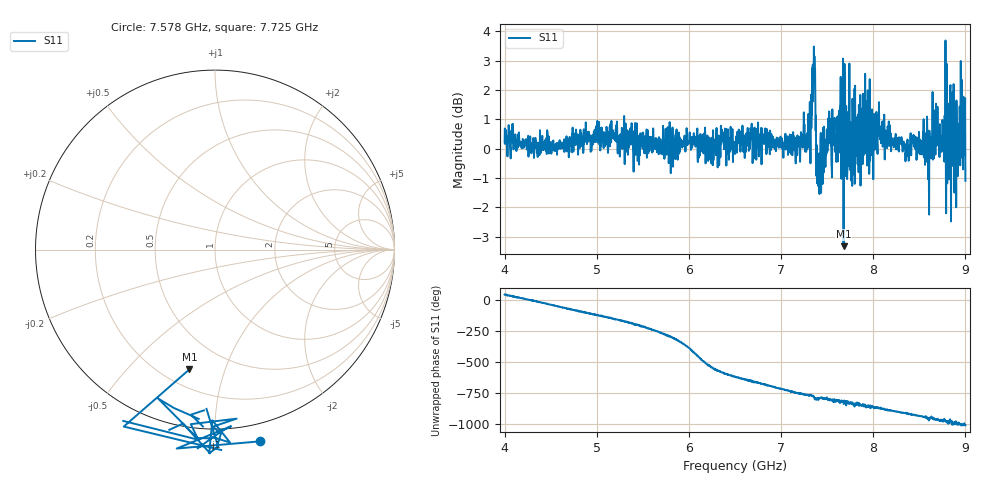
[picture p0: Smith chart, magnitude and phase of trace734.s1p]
! Created with skrf 1.8.0 (http://scikit-rf.org).
# Hz S RI R 50.0
!freq ReS11 ImS11
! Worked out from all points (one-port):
!   1601 points, 4 GHz to 9 GHz, reference 50 ohm
!   lowest |S11| = -3.3 dB at 7.678 GHz (marker M1), VSWR 5.30, Z = 15.3 - j38.1 ohm
!   |S11| at or under -10 dB: nowhere
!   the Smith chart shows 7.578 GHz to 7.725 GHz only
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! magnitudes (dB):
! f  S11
! 4 GHz  0.2
! 4.625 GHz  0.0
! 5.25 GHz  -0.3
! 5.875 GHz  0.2
! 6.5 GHz  -0.2
! 7.125 GHz  0.3
! 7.294 GHz  0.3
! 7.347 GHz  1.6
! 7.369 GHz  2.7
! 7.397 GHz  -0.8
! 7.412 GHz  -1.3
! 7.512 GHz  1.0
! 7.609 GHz  0.9
! 7.669 GHz  1.4
! 7.678 GHz  -3.3
! 7.75 GHz  -0.5
! 7.769 GHz  -0.9
! 7.928 GHz  1.1
! 7.981 GHz  0.0
! 8.075 GHz  0.3
! 8.375 GHz  -0.2
! 8.441 GHz  0.1
! 8.616 GHz  0.0
! 8.656 GHz  1.3
! 8.775 GHz  1.1
! 8.919 GHz  0.0
! 8.972 GHz  0.7
! 9 GHz  -1.1
